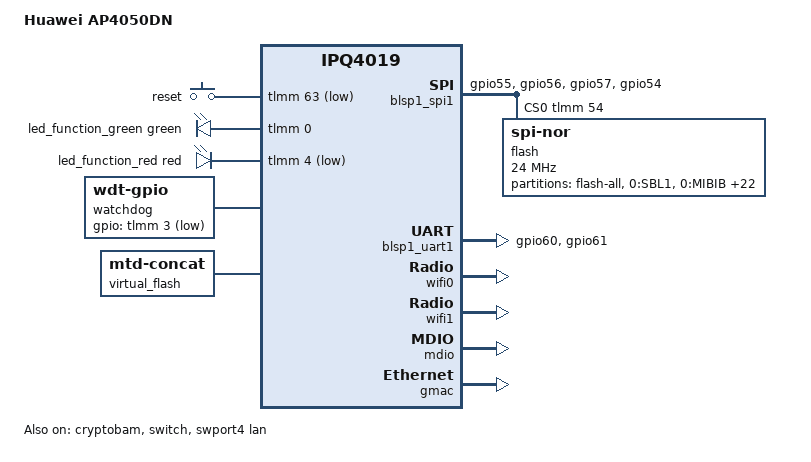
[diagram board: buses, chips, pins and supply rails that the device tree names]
// SPDX-License-Identifier: GPL-2.0-or-later OR MIT

#include "qcom-ipq4019.dtsi"
#include <dt-bindings/gpio/gpio.h>
#include <dt-bindings/input/input.h>
#include <dt-bindings/leds/common.h>
#include <dt-bindings/soc/qcom,tcsr.h>

/ {
	model = "Huawei AP4050DN";
	compatible = "huawei,ap4050dn", "qcom,ipq40xx";

	chosen {
		bootargs = "console=ttyMSM0,9600n8";
	};

	aliases {
		ethernet0 = &gmac;
		led-boot = &led_function_green;
		led-failsafe = &led_function_red;
		led-running = &led_function_green;
		led-upgrade = &led_function_red;
		label-mac-device = &gmac;
	};

	soc {
		rng@22000 {
			status = "okay";
		};

		counter@4a1000 {
			compatible = "qcom,qca-gcnt";
			reg = <0x4a1000 0x4>;
		};

		tcsr@1949000 {
			compatible = "qcom,tcsr";
			reg = <0x1949000 0x100>;
			qcom,wifi_glb_cfg = <TCSR_WIFI_GLB_CFG>;
		};

		ess_tcsr@1953000 {
			compatible = "qcom,tcsr";
			reg = <0x1953000 0x1000>;
			qcom,ess-interface-select = <TCSR_ESS_PSGMII>;
		};

		tcsr@1957000 {
			compatible = "qcom,tcsr";
			reg = <0x1957000 0x100>;
			qcom,wifi_noc_memtype_m0_m2 = <TCSR_WIFI_NOC_MEMTYPE_M0_M2>;
		};

		crypto@8e3a000 {
			status = "okay";
		};

		watchdog@b017000 {
			status = "okay";
		};
	};

	keys {
		compatible = "gpio-keys";

		restart {
			label = "reset";
			linux,code = <KEY_RESTART>;
			gpios = <&tlmm 63 GPIO_ACTIVE_LOW>;
			debounce-interval = <60>;
		};
	};

	leds {
		compatible = "gpio-leds";

		led_function_green: led-status-green {
			function = LED_FUNCTION_STATUS;
			color = <LED_COLOR_ID_GREEN>;
			gpios = <&tlmm 0 GPIO_ACTIVE_HIGH>;
		};

		led_function_red: led-status-red {
			function = LED_FUNCTION_STATUS;
			color = <LED_COLOR_ID_RED>;
			gpios = <&tlmm 4 GPIO_ACTIVE_LOW>;
		};
	};

	watchdog {
		compatible = "linux,wdt-gpio";
		gpios = <&tlmm 3 GPIO_ACTIVE_LOW>;
		hw_algo = "toggle";
		hw_margin_ms = <2>;
		always-running;
	};

	virtual_flash {
		compatible = "mtd-concat";
		devices = <&fwconcat0 &fwconcat1>;

		partitions {
			compatible = "fixed-partitions";
			#address-cells = <1>;
			#size-cells = <1>;

			partition@0 {
				label = "firmware";
				reg = <0x0 0x3200000>;
				compatible = "denx,fit";
			};
		};
	};
};

&tlmm {
	serial_pins: serial_pinmux {
		mux {
			pins = "gpio60", "gpio61";
			function = "blsp_uart0";
			bias-disable;
		};
	};

	spi_0_pins: spi_0_pinmux {
		pin {
			function = "blsp_spi0";
			pins = "gpio55", "gpio56", "gpio57";
			drive-strength = <12>;
			bias-disable;
		};
		pin_cs {
			function = "gpio";
			pins = "gpio54";
			drive-strength = <2>;
			bias-disable;
			output-high;
		};
	};
};

&blsp_dma {
	status = "okay";
};

&blsp1_spi1 {
	pinctrl-0 = <&spi_0_pins>;
	pinctrl-names = "default";
	status = "okay";
	cs-gpios = <&tlmm 54 GPIO_ACTIVE_HIGH>;

	flash@0 {
		#address-cells = <1>;
		#size-cells = <1>;
		compatible = "jedec,spi-nor";
		reg = <0>;
		spi-max-frequency = <24000000>;

		partitions {
			compatible = "fixed-partitions";
			#address-cells = <1>;
			#size-cells = <1>;

			partition-flash-all@0 {
				label = "flash-all";
				reg = <0x00000000 0x4000000>;
				read-only;
			};

			partition@0 {
				label = "0:SBL1";
				reg = <0x00 0x40000>;
				read-only;
			};

			partition@40000 {
				label = "0:MIBIB";
				reg = <0x40000 0x40000>;
				read-only;
			};

			partition@80000 {
				label = "0:QSEE";
				reg = <0x80000 0x80000>;
				read-only;
			};

			partition@100000 {
				label = "0:CDT";
				reg = <0x100000 0x40000>;
				read-only;
			};

			partition@140000 {
				label = "0:DDRPARAMS";
				reg = <0x140000 0x40000>;
				read-only;
			};

			partition@180000 {
				label = "0:APPSBL";
				reg = <0x180000 0x100000>;
				read-only;
			};

			partition@280000 {
				label = "0:ART";
				reg = <0x280000 0x40000>;
				read-only;

				nvmem-layout {
					compatible = "fixed-layout";
					#address-cells = <1>;
					#size-cells = <1>;

					precal_art_1000: precal@1000 {
						reg = <0x1000 0x2f20>;
					};

					precal_art_5000: precal@5000 {
						reg = <0x5000 0x2f20>;
					};

					precal_art_9000: precal@9000 {
						reg = <0x9000 0x2f20>;
					};
				};
			};

			partition@2c0000 {
				label = "0:APPSBLENV";
				reg = <0x2c0000 0x40000>;
				read-only;
			};

			partition@300000 {
				label = "ResultA";
				reg = <0x300000 0x80000>;

				nvmem-layout {
					compatible = "fixed-layout";
					#address-cells = <1>;
					#size-cells = <1>;

					macaddr_resulta_10190: macaddr@10190 {
						reg = <0x10190 0x6>;
					};
				};
			};

			partition@380000 {
				label = "configA";
				reg = <0x380000 0x280000>;
				read-only;
			};

			partition@600000 {
				label = "bootimageA";
				reg = <0x600000 0x100000>;
				read-only;
			};

			// In the vendor layout, the partition "SysImageA" lies here
			// which encompassed the space of "uboot" and "fwconcat0"
			partition@700000 {
				label = "uboot";
				reg = <0x700000 0x80000>;
			};

			fwconcat0: partition@780000 {
				label = "fwconcat0";
				reg = <0x780000 0x1880000>;
			};

			partition@2000000 {
				label = "1:SBL1";
				reg = <0x2000000 0x40000>;
				read-only;
			};

			partition@2040000 {
				label = "1:MIBIB";
				reg = <0x2040000 0x40000>;
				read-only;
			};

			partition@2080000 {
				label = "1:QSEE";
				reg = <0x2080000 0x80000>;
				read-only;
			};

			partition@2100000 {
				label = "1:CDT";
				reg = <0x2100000 0x40000>;
				read-only;
			};

			partition@2140000 {
				label = "1:DDRPARAMS";
				reg = <0x2140000 0x40000>;
				read-only;
			};

			partition@2180000 {
				label = "1:APPSBL";
				reg = <0x2180000 0x100000>;
				read-only;
			};

			partition@2280000 {
				label = "Reservel";
				reg = <0x2280000 0x80000>;
				read-only;
			};

			partition@2300000 {
				label = "ResultB";
				reg = <0x2300000 0x80000>;
			};

			partition@2380000 {
				label = "configB";
				reg = <0x2380000 0x280000>;
				read-only;
			};

			partition@2600000 {
				label = "bootimageB";
				reg = <0x2600000 0x100000>;
				read-only;
			};

			// In the vendor layout, the partition "SysImageB" lies here
			fwconcat1: partition@2700000 {
				label = "fwconcat1";
				reg = <0x2700000 0x1900000>;
			};
		};
	};
};

&blsp1_uart1 {
	pinctrl-0 = <&serial_pins>;
	pinctrl-names = "default";
	status = "okay";
};

&wifi0 {
	status = "okay";
	qcom,ath10k-calibration-variant = "huawei-ap4050dn";
};

&wifi1 {
	status = "okay";
	qcom,ath10k-calibration-variant = "huawei-ap4050dn";
};

&cryptobam {
	status = "okay";
};

&mdio {
	status = "okay";
};

&gmac {
	status = "okay";

	nvmem-cells = <&macaddr_resulta_10190 0>;
	nvmem-cell-names = "mac-address";
};

&switch {
	status = "okay";
};

&swport4 {
	status = "okay";
	label = "lan";
};
